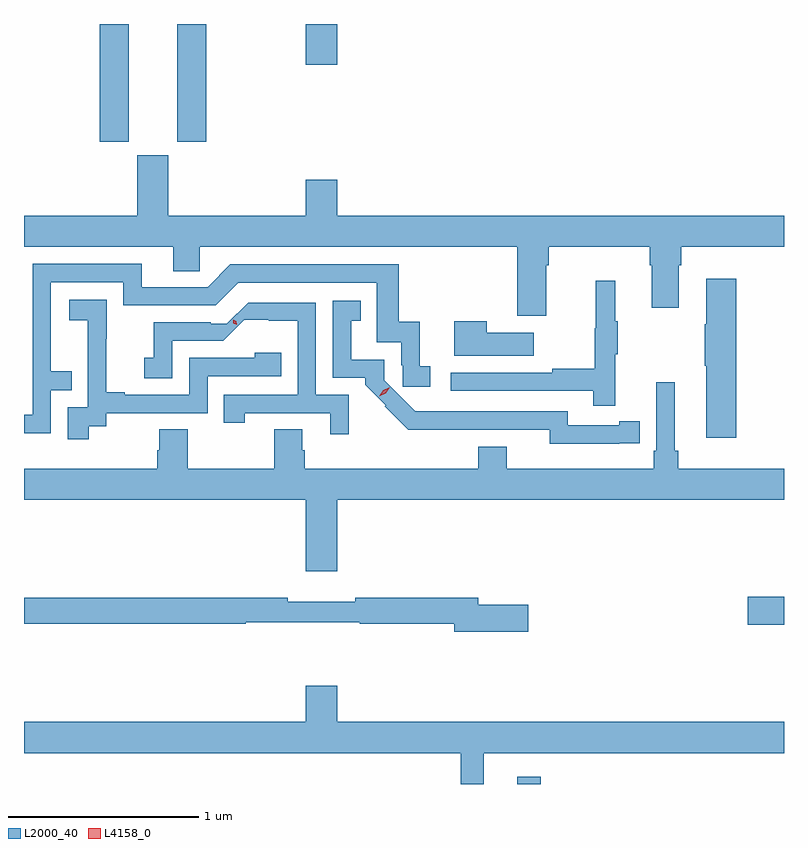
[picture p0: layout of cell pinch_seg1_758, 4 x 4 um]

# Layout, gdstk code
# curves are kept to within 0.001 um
import gdstk
lib = gdstk.Library(unit=1e-6, precision=1e-09)
def R(c, l, rs):  # rectangles x0, y0, x1, y1
    for r in rs: c.add(gdstk.rectangle(r[:2], r[2:], *l))
def P(c, l, *ps):  # polygons
    for p in ps: c.add(gdstk.Polygon(p, *l))
L2000_40 = (2000, 40)
L4158_0 = (4158, 0)

pinch_seg1_758 = lib.new_cell('pinch_seg1_758')
R(pinch_seg1_758, L2000_40, [(849.437,507.613,849.559,507.652), (850.65,508.451,850.84,508.598), (847.238,510.993,847.39,511.613), (847.646,510.993,847.799,511.613), (848.324,511.398,848.488,511.613)])
P(pinch_seg1_758, L2000_40, [(849.589,510.344),(849.602,510.344),(849.602,510.44),(850.133,510.44),(850.133,510.344),(850.145,510.344),(850.145,510.12),(850.285,510.12),(850.285,510.344),(850.298,510.344),(850.298,510.44),(850.84,510.44),(850.84,510.604),(848.488,510.604),(848.488,510.793),(848.324,510.793),(848.324,510.604),(847.6,510.604),(847.6,510.921),(847.436,510.921),(847.436,510.604),(846.84,510.604),(846.84,510.44),(847.625,510.44),(847.625,510.313),(847.764,510.313),(847.764,510.44),(849.437,510.44),(849.437,510.078),(849.589,510.078)],
  [(846.981,509.685),(847.091,509.685),(847.091,509.786),(846.981,509.786),(846.981,510.255),(847.362,510.255),(847.362,510.132),(847.848,510.132),(847.968,510.252),(848.697,510.252),(848.697,509.937),(848.826,509.937),(848.826,509.816),(848.834,509.816),(848.834,509.703),(848.977,509.703),(848.977,509.811),(848.924,509.811),(848.924,510.046),(848.813,510.046),(848.813,510.348),(847.926,510.348),(847.806,510.228),(847.459,510.228),(847.459,510.351),(846.885,510.351),(846.885,509.556),(846.84,509.556),(846.84,509.46),(846.981,509.46)],
  [(850.589,510.271),(850.43,510.271),(850.43,510.032),(850.423,510.032),(850.423,509.815),(850.43,509.815),(850.43,509.436),(850.589,509.436)],
  [(849.953,509.875),(849.964,509.875),(849.964,510.049),(849.953,510.049),(849.953,510.262),(849.85,510.262),(849.85,510.012),(849.843,510.012),(849.843,509.798),(849.619,509.798),(849.619,509.778),(849.087,509.778),(849.087,509.682),(849.835,509.682),(849.835,509.604),(849.953,509.604)],
  [(847.18,509.497),(847.272,509.497),(847.272,509.565),(847.806,509.565),(847.806,509.76),(848.195,509.76),(848.195,509.884),(848.055,509.884),(848.055,509.856),(847.71,509.856),(847.71,509.661),(847.369,509.661),(847.369,509.674),(847.274,509.674),(847.274,509.957),(847.275,509.957),(847.275,510.163),(847.077,510.163),(847.077,510.053),(847.175,510.053),(847.175,509.825),(847.176,509.825),(847.176,509.595),(847.071,509.595),(847.071,509.427),(847.18,509.427)],
  [(849.974,509.406),(850.082,509.406),(850.082,509.522),(849.974,509.522),(849.974,509.502),(849.702,509.502),(849.702,509.574),(848.9,509.574),(848.736,509.738),(848.736,509.847),(848.563,509.847),(848.563,510.051),(848.612,510.051),(848.612,510.157),(848.466,510.157),(848.466,509.751),(848.635,509.751),(848.635,509.715),(848.744,509.606),(848.739,509.601),(848.863,509.477),(849.606,509.478),(849.606,509.405)],
  [(848.55,509.661),(848.376,509.661),(848.376,510.147),(848.019,510.147),(847.908,510.036),(847.823,510.036),(847.823,510.042),(847.522,510.042),(847.522,509.857),(847.473,509.857),(847.473,509.748),(847.62,509.748),(847.62,509.946),(847.889,509.946),(848,510.057),(848.128,510.057),(848.128,510.05),(848.28,510.05),(848.28,509.661),(847.891,509.661),(847.891,509.514),(848.002,509.514),(848.002,509.565),(848.453,509.565),(848.453,509.454),(848.55,509.454)],
  [(849.523,509.989),(849.275,509.989),(849.275,510.049),(849.104,510.049),(849.104,509.867),(849.523,509.867)],
  [(850.167,509.728),(850.167,509.368),(850.154,509.368),(850.154,509.272),(849.382,509.272),(849.382,509.389),(849.23,509.389),(849.23,509.272),(848.318,509.272),(848.318,509.37),(848.305,509.37),(848.305,509.48),(848.158,509.48),(848.158,509.272),(847.701,509.272),(847.701,509.48),(847.553,509.48),(847.553,509.37),(847.541,509.37),(847.541,509.272),(846.84,509.272),(846.84,509.108),(848.324,509.108),(848.324,508.734),(848.488,508.734),(848.488,509.108),(850.84,509.108),(850.84,509.272),(850.283,509.272),(850.283,509.368),(850.264,509.368),(850.264,509.728)],
  [(849.493,508.556),(849.232,508.556),(849.232,508.592),(848.584,508.592),(848.584,508.573),(848.228,508.573),(848.228,508.592),(846.84,508.592),(846.84,508.456),(848.008,508.456),(848.008,508.464),(848.608,508.464),(848.608,508.456),(849.104,508.456),(849.104,508.414),(849.493,508.414)],
  [(849.259,507.776),(850.84,507.776),(850.84,507.94),(848.488,507.94),(848.488,508.129),(848.324,508.129),(848.324,507.94),(846.84,507.94),(846.84,507.776),(849.138,507.776),(849.138,507.613),(849.259,507.613)])
P(pinch_seg1_758, L4158_0, [(848.709,509.654),(848.709,509.654),(848.73,509.685),(848.764,509.7),(848.765,509.7),(848.765,509.7),(848.743,509.669),(848.709,509.654)],
  [(847.959,510.029),(847.959,510.029),(847.941,510.037),(847.94,510.057),(847.94,510.057),(847.94,510.057),(847.958,510.049),(847.959,510.029)])

lib.write_gds('pinch_seg1_758.gds')
